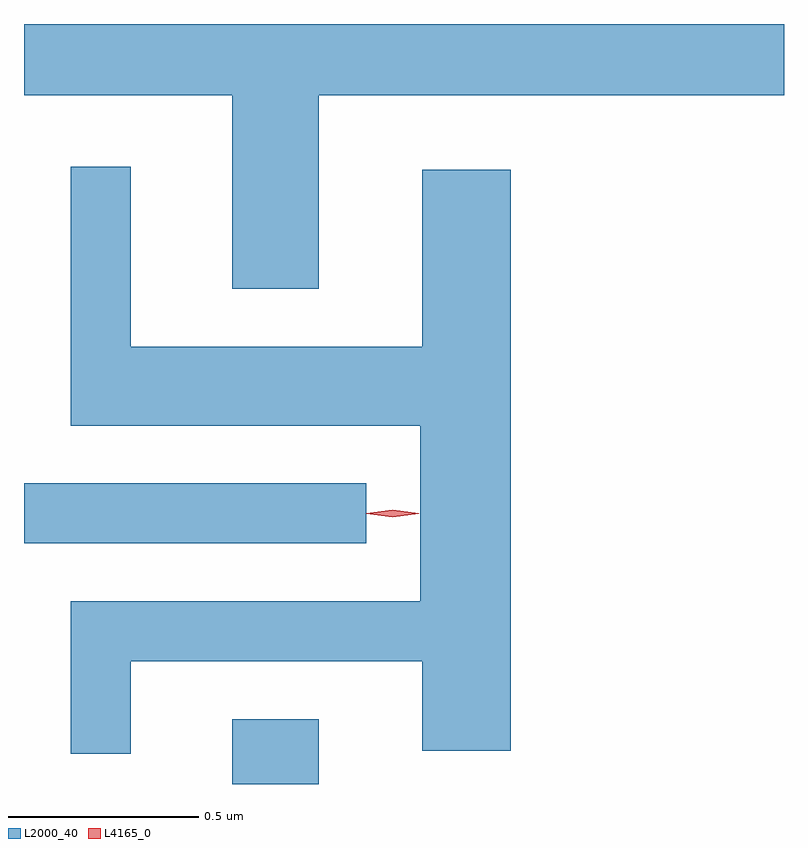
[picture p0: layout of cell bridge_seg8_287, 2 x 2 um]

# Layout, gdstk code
import gdstk
lib = gdstk.Library(unit=1e-6, precision=1e-09)
def R(c, l, rs):  # rectangles x0, y0, x1, y1
    for r in rs: c.add(gdstk.rectangle(r[:2], r[2:], *l))
def P(c, l, *ps):  # polygons
    for p in ps: c.add(gdstk.Polygon(p, *l))
L2000_40 = (2000, 40)
L4165_0 = (4165, 0)

bridge_seg8_287 = lib.new_cell('bridge_seg8_287')
R(bridge_seg8_287, L2000_40, [(1296.641,1819.063,1296.869,1819.234), (1296.093,1819.696,1296.993,1819.854)])
P(bridge_seg8_287, L2000_40, [(1296.869,1820.876),(1298.093,1820.876),(1298.093,1821.063),(1296.093,1821.063),(1296.093,1820.876),(1296.641,1820.876),(1296.641,1820.366),(1296.869,1820.366)],
  [(1296.374,1819.386),(1297.141,1819.386),(1297.141,1819.151),(1297.374,1819.151),(1297.374,1820.679),(1297.141,1820.679),(1297.141,1820.214),(1296.374,1820.214),(1296.374,1820.688),(1296.216,1820.688),(1296.216,1820.006),(1297.136,1820.006),(1297.136,1819.544),(1296.216,1819.544),(1296.216,1819.143),(1296.374,1819.143)])
P(bridge_seg8_287, L4165_0, [(1297.063,1819.765),(1296.997,1819.774),(1296.997,1819.775),(1296.997,1819.775),(1297.063,1819.785),(1297.129,1819.775),(1297.129,1819.775),(1297.129,1819.774)],
  [(1297.063,1819.765),(1296.994,1819.774),(1296.994,1819.775),(1296.994,1819.775),(1297.063,1819.785),(1297.132,1819.775),(1297.132,1819.775),(1297.132,1819.774)])

lib.write_gds('bridge_seg8_287.gds')
